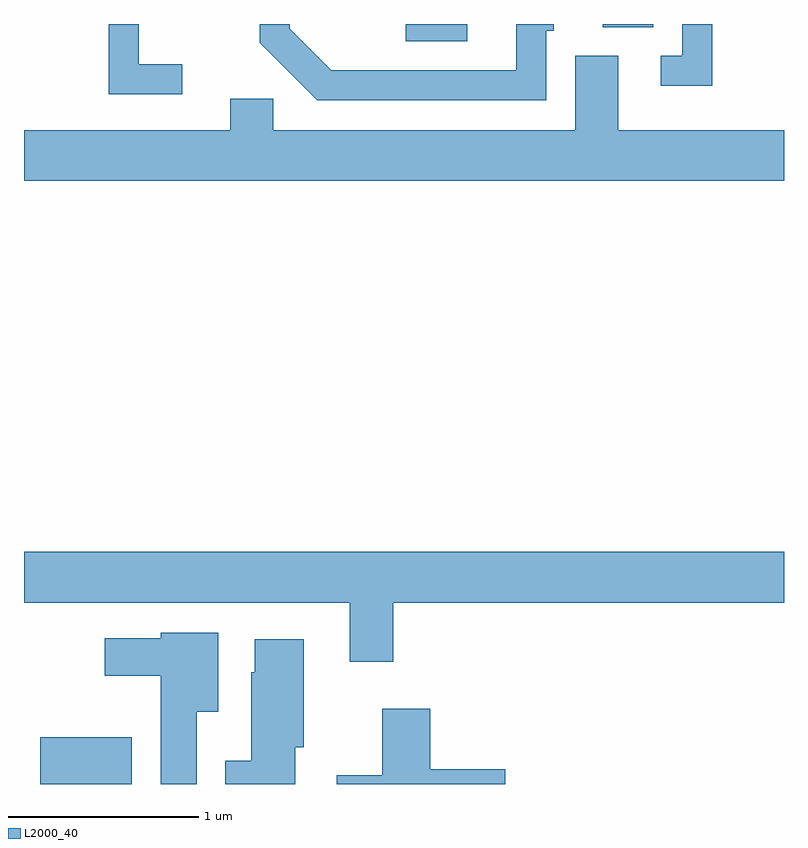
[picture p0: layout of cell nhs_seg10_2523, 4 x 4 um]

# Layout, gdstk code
import gdstk
lib = gdstk.Library(unit=1e-6, precision=1e-09)
def R(c, l, rs):  # rectangles x0, y0, x1, y1
    for r in rs: c.add(gdstk.rectangle(r[:2], r[2:], *l))
def P(c, l, *ps):  # polygons
    for p in ps: c.add(gdstk.Polygon(p, *l))
L2000_40 = (2000, 40)

nhs_seg10_2523 = lib.new_cell('nhs_seg10_2523')
R(nhs_seg10_2523, L2000_40, [(259.696,2108.522,260.179,2108.769), (261.621,2112.431,261.943,2112.522), (262.656,2112.506,262.924,2112.522)])
P(nhs_seg10_2523, L2000_40, [(260.443,2112.309),(260.214,2112.309),(260.214,2112.522),(260.056,2112.522),(260.056,2112.151),(260.443,2112.151)],
  [(262.359,2112.486),(262.399,2112.486),(262.399,2112.522),(262.201,2112.522),(262.201,2112.279),(261.227,2112.279),(261.009,2112.497),(261.009,2112.522),(260.851,2112.522),(260.851,2112.424),(261.154,2112.121),(262.359,2112.121)],
  [(263.234,2112.522),(263.076,2112.522),(263.076,2112.354),(262.963,2112.354),(262.963,2112.196),(263.234,2112.196)],
  [(263.611,2111.964),(262.739,2111.964),(262.739,2112.354),(262.511,2112.354),(262.511,2111.964),(260.924,2111.964),(260.924,2112.129),(260.696,2112.129),(260.696,2111.964),(259.611,2111.964),(259.611,2111.696),(263.611,2111.696)],
  [(261.554,2109.476),(263.611,2109.476),(263.611,2109.744),(259.611,2109.744),(259.611,2109.476),(261.326,2109.476),(261.326,2109.166),(261.554,2109.166)],
  [(260.519,2108.901),(260.634,2108.901),(260.634,2109.319),(260.331,2109.319),(260.331,2109.289),(260.036,2109.289),(260.036,2109.091),(260.331,2109.091),(260.331,2108.522),(260.519,2108.522)],
  [(261.039,2108.716),(261.084,2108.716),(261.084,2109.284),(260.826,2109.284),(260.826,2109.109),(260.806,2109.109),(260.806,2108.644),(260.671,2108.644),(260.671,2108.522),(261.039,2108.522)],
  [(262.144,2108.599),(261.749,2108.599),(261.749,2108.919),(261.496,2108.919),(261.496,2108.569),(261.256,2108.569),(261.256,2108.522),(262.144,2108.522)])

lib.write_gds('nhs_seg10_2523.gds')
